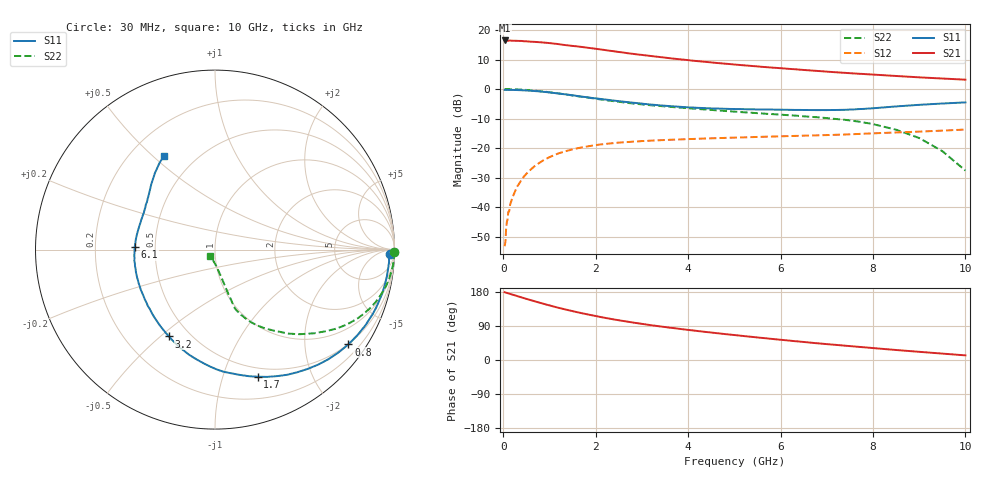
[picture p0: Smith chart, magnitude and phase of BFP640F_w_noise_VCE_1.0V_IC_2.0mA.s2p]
! Infineon Technologies  Discrete & RF Semiconductors
! BFP640F
! VCE =  1.0 V,  IC =  2.0 mA
! Common Emitter S-Parameters:  Apr 2013
# GHz  S  MA  R  50
!  f  S11  S21  S12  S22
! GHz  MAG  ANG  MAG  ANG  MAG  ANG  MAG  ANG
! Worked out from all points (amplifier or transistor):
!   99 points, 30 MHz to 10 GHz, reference 50 ohm
!   highest |S21| = 16.5 dB at 30 MHz (marker M1)
!   |S21| within 3 dB of that: start of sweep to 2.086 GHz
!   unconditionally stable (mu >= 1): 5.952 GHz to end of sweep
!   at 350 MHz: K = 0.03, MSG = 24.1 dB, |S12| = -31.9 dB
!   at 3.5 GHz: K = 0.67, MSG = 13.9 dB, |S12| = -17.2 dB
!   at 10 GHz: K = 1.20, MAG = 5.7 dB, |S12| = -13.7 dB
!   lowest NFmin = 0.46 dB at 450 MHz
!   S11 on the Smith chart (normalised r, x): 30 MHz: 43, -36; 800 MHz: 0.49, -3.06; 1.7 GHz: 0.41, -1.31; 3.2 GHz: 0.39, -0.53; 6.1 GHz: 0.38, +0.01; 10 GHz: 0.33, +0.54
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0.03  0.9729 -1.3  6.662 178.9  0.0022 100.6  0.9995 -0.8
0.04  0.9733 -1.8  6.461 178.5  0.0024 86.3  0.9994 -1.1
0.05  0.9735 -2.3  6.574 178.3  0.0027 83.7  1 -1.3
0.06  0.9716 -2.7  6.558 177.7  0.0041 97.9  0.998 -1.5
0.11  0.9711 -4.9  6.622 175.9  0.0084 86.9  0.9982 -3.0
0.25  0.9668 -11.1  6.58 170.7  0.0182 85.1  0.9914 -6.7
0.4  0.9572 -17.9  6.535 165.0  0.0296 81.5  0.979 -10.7
0.8  0.9117 -35.4  6.206 150.8  0.0578 70.8  0.9235 -20.7
1.2  0.8415 -52.2  5.772 137.6  0.0819 60.8  0.8457 -29.5
1.7  0.7471 -71.4  5.174 123.5  0.1033 50.4  0.742 -38.4
2  0.6973 -82.0  4.818 116.1  0.1128 45.5  0.6883 -43.0
2.4  0.6386 -95.3  4.368 106.9  0.1223 39.8  0.6245 -48.6
2.8  0.5894 -107.0  3.962 99.0  0.1291 35.7  0.5722 -52.7
3.2  0.5478 -117.9  3.631 91.8  0.1344 32.3  0.5327 -56.3
3.4  0.5304 -123.2  3.484 88.5  0.1367 30.8  0.5174 -57.8
4.2  0.4825 -142.4  2.981 76.6  0.1444 26.6  0.4628 -62.6
5.1  0.4592 -162.4  2.572 64.6  0.1518 23.2  0.4108 -66.7
6.1  0.4478 178.3  2.23 52.3  0.1598 20.5  0.3653 -70.1
6.7  0.4419 166.3  2.057 45.2  0.1644 19.2  0.3376 -71.5
8.5  0.5095 134.1  1.669 26.4  0.1848 16.5  0.2059 -74.8
9.5  0.5708 123.0  1.512 16.9  0.1985 14.5  0.0894 -86.3
10  0.5961 118.6  1.445 12.2  0.207 13.2  0.0419 -128.2
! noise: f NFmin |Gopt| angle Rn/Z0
0.45  0.46  0.63  10  0.28
0.9  0.57  0.59  22  0.27
1.5  0.67  0.58  31  0.27
1.9  0.72  0.54  46  0.26
2.4  0.8  0.51  62  0.26
3.5  0.94  0.43  82  0.25
5.5  1.26  0.36  145  0.24
10  2.23  0.53  -110  0.45
